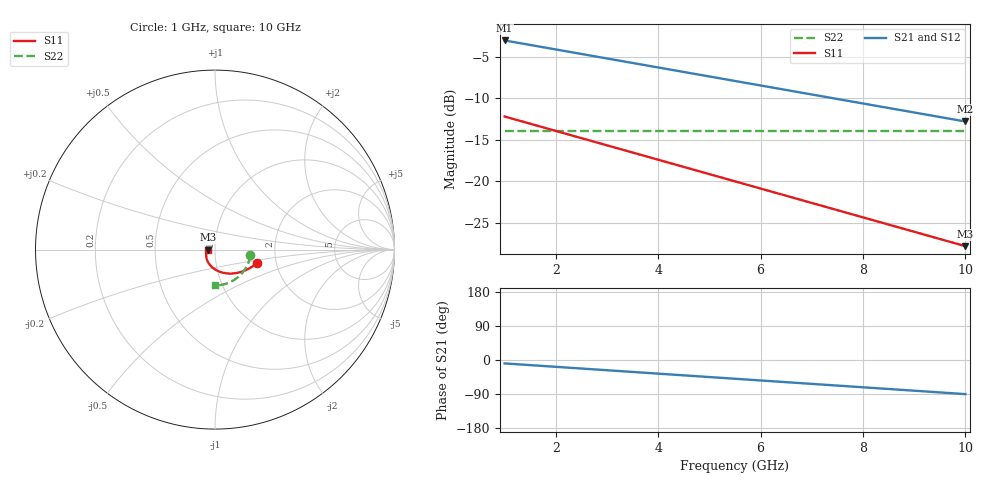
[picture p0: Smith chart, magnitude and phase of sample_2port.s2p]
! Created with skrf 1.8.0 (http://scikit-rf.org).
# Hz S RI R 50.0
!freq ReS11 ImS11 ReS21 ImS21 ReS12 ImS12 ReS22 ImS22
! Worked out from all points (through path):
!   1001 points, 1 GHz to 10 GHz, reference 50 ohm
!   highest |S21| = -3.02 dB at 1 GHz (marker M1); lowest = -12.8 dB at 10 GHz (marker M2)
!   group delay of S21, straight-line fit = 25 ps
!   lowest |S11| = -27.8 dB at 10 GHz (marker M3), VSWR 1.08, Z = 46.1 - j4.59e-16 ohm
!   |S11| at or under -10 dB: start of sweep to end of sweep
!   |S22| runs from -14.0 to -14.0 dB; largest |S21 - S12| = 0
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1e9  0.2336 -0.0759  0.6973 -0.1104  0.6973 -0.1104  0.1975 -0.0313
1.045e9  0.2304 -0.0785  0.6926 -0.1147  0.6926 -0.1147  0.1973 -0.0327
1.396e9  0.2054 -0.0964  0.6558 -0.1462  0.6558 -0.1462  0.1952 -0.0435
1.747e9  0.1805 -0.1104  0.619 -0.1743  0.619 -0.1743  0.1925 -0.0542
2.116e9  0.1546 -0.1212  0.5805 -0.2004  0.5805 -0.2004  0.1891 -0.0653
2.503e9  0.1285 -0.1287  0.5404 -0.2242  0.5404 -0.2242  0.1847 -0.0766
2.872e9  0.1047 -0.1326  0.5028 -0.2436  0.5028 -0.2436  0.18 -0.0872
3.241e9  0.0824 -0.1335  0.4659 -0.26  0.4659 -0.26  0.1746 -0.0975
3.619e9  0.0612 -0.132  0.4289 -0.274  0.4289 -0.274  0.1685 -0.1077
4.006e9  0.0414 -0.1281  0.392 -0.2854  0.392 -0.2854  0.1617 -0.1177
4.366e9  0.0248 -0.1228  0.3587 -0.2936  0.3587 -0.2936  0.1548 -0.1267
4.735e9  0.00968 -0.116  0.3257 -0.2997  0.3257 -0.2997  0.1472 -0.1354
5.113e9  -0.00383 -0.1078  0.2932 -0.3038  0.2932 -0.3038  0.1389 -0.1439
5.5e9  -0.0156 -0.0986  0.2613 -0.3059  0.2613 -0.3059  0.1299 -0.1521
5.869e9  -0.025 -0.0893  0.2321 -0.3061  0.2321 -0.3061  0.1209 -0.1594
6.238e9  -0.0327 -0.0797  0.2044 -0.3046  0.2044 -0.3046  0.1114 -0.1661
7.003e9  -0.0435 -0.0598  0.1512 -0.2971  0.1512 -0.2971  0.0907 -0.1782
7.75e9  -0.0484 -0.0414  0.1051 -0.2849  0.1051 -0.2849  0.0692 -0.1876
8.506e9  -0.0488 -0.0248  0.0642 -0.2687  0.0642 -0.2687  0.0465 -0.1945
9.28e9  -0.0457 -0.0105  0.0283 -0.2492  0.0283 -0.2492  0.0226 -0.1987
9.955e9  -0.041 -0.000579  0.00163 -0.2305  0.00163 -0.2305  0.00141 -0.2
1e10  -0.0406 -4.97e-18  1.4e-17 -0.2292  1.4e-17 -0.2292  1.22e-17 -0.2
